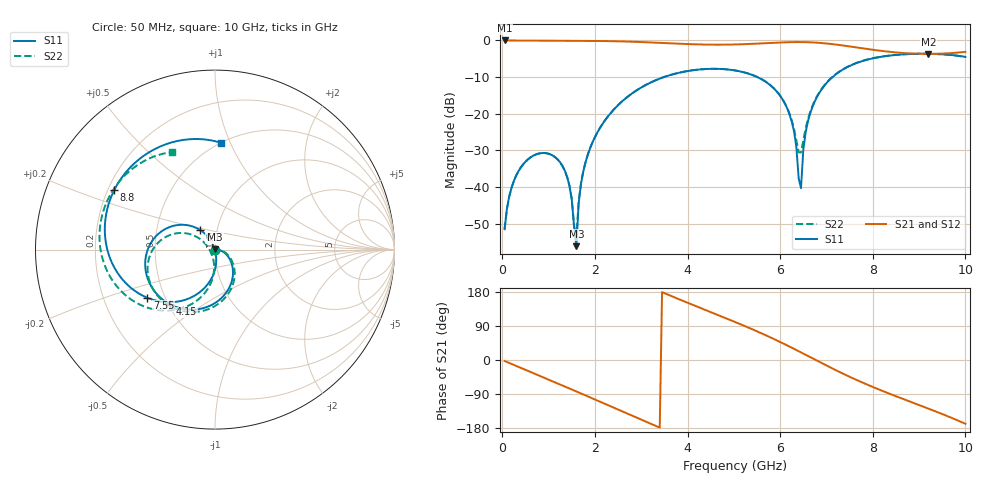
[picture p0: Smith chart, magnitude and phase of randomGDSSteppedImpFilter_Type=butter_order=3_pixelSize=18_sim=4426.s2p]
! freq	dB(S11)	phase(S11)	dB(S12)	phase(S12)
!  dB(S21)	phase(S21)	dB(S22)	phase(S22)
!S-par simulation data
#  GHz  S  DB  R 50
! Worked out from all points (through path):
!   200 points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, 50 MHz to 10 GHz, reference 50 ohm
!   highest |S21| = 0.00 dB at 50 MHz (marker M1); lowest = -3.7 dB at 9.2 GHz (marker M2)
!   group delay of S21, straight-line fit = 149 ps
!   lowest |S11| = -56.2 dB at 1.6 GHz (marker M3), VSWR 1.00, Z = 50.1 + j0.0819 ohm
!   |S11| at or under -10 dB: start of sweep to 3.493 GHz; 5.506 GHz to 7.132 GHz (1.626 GHz wide, 25.7 % of centre)
!   |S22| runs from -53.6 to -3.6 dB; largest |S21 - S12| = 0
!   S11 on the Smith chart (normalised r, x): 50 MHz: 1.00, -0.01; 4.15 GHz: 0.51, -0.37; 6.1 GHz: 0.83, +0.19; 7.55 GHz: 0.40, -0.27; 8.8 GHz: 0.23, +0.26; 10 GHz: 0.50, +0.92
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0.05  -51.55 -83.5  -0.00 -2.6  -0.00 -2.6  -51.54 -83.5
0.15  -42.59 -94.5  -0.01 -7.8  -0.01 -7.8  -42.59 -94.4
0.35  -35.69 -107.5  -0.03 -18.2  -0.03 -18.2  -35.69 -107.2
1  -30.93 -143.3  -0.07 -51.8  -0.07 -51.8  -30.94 -142.8
1.4  -37.25 -165.5  -0.08 -72.6  -0.08 -72.6  -37.29 -166.5
1.6  -56.18 31.7  -0.10 -83.0  -0.10 -83.0  -53.59 52.6
1.65  -44.28 6.4  -0.10 -85.7  -0.10 -85.7  -43.94 15.9
1.75  -35.71 -1.3  -0.11 -90.9  -0.11 -90.9  -35.61 3.9
2.3  -20.46 -31.9  -0.18 -120.1  -0.18 -120.1  -20.43 -28.3
3.4  -10.43 -91.0  -0.66 -178.4  -0.66 -178.4  -10.41 -86.1
4.15  -8.08 -129.4  -1.05 143.6  -1.05 143.6  -8.07 -123.0
5.05  -8.25 -174.4  -1.09 99.1  -1.09 99.1  -8.23 -165.5
6.1  -17.18 127.4  -0.51 41.6  -0.51 41.6  -17.08 146.2
6.3  -24.90 115.6  -0.45 29.4  -0.45 29.4  -24.18 149.2
6.45  -40.37 -91.0  -0.44 20.1  -0.44 20.1  -30.58 -134.5
6.55  -25.16 -82.8  -0.47 13.8  -0.47 13.8  -24.03 -97.3
6.7  -18.07 -91.9  -0.54 4.3  -0.54 4.3  -17.75 -93.0
7.55  -6.68 -144.6  -1.73 -47.1  -1.73 -47.1  -6.62 -133.9
8.35  -4.16 172.1  -3.09 -88.4  -3.09 -88.4  -4.13 -172.4
8.8  -3.71 149.6  -3.54 -109.6  -3.54 -109.6  -3.69 167.9
9.2  -3.65 129.7  -3.67 -128.3  -3.67 -128.3  -3.64 150.6
10  -4.49 87.0  -3.12 -168.3  -3.12 -168.3  -4.52 113.9
